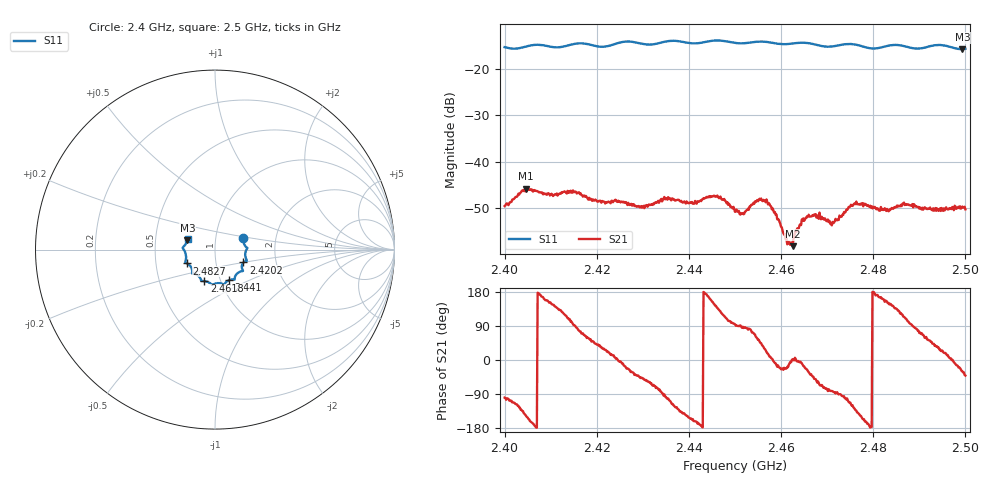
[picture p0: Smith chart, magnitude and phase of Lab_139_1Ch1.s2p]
# Hz S RI R 50
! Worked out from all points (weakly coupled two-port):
!   601 points, 2.4 GHz to 2.5 GHz, reference 50 ohm
!   highest |S21| = -45.78 dB at 2.4047 GHz (marker M1); lowest = -58.1 dB at 2.4625 GHz (marker M2)
!   lowest |S11| = -15.8 dB at 2.4993 GHz (marker M3), VSWR 1.39, Z = 36.5 + j3.85 ohm
!   |S11| at or under -10 dB: start of sweep to end of sweep
!   S12 and S22 are empty: the file has one direction only
!   S11 on the Smith chart (normalised r, x): 2.4 GHz: 1.36, +0.18; 2.4202 GHz: 1.36, -0.20; 2.441 GHz: 1.10, -0.39; 2.4618 GHz: 0.84, -0.30; 2.4827 GHz: 0.72, -0.11; 2.5 GHz: 0.73, +0.09
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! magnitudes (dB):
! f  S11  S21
! 2.4 GHz  -15.4  -49.5
! 2.4047 GHz  -15.2  -45.8
! 2.4167 GHz  -14.5  -47.1
! 2.4202 GHz  -15.2  -48.5
! 2.4298 GHz  -14.6  -49.8
! 2.4333 GHz  -14.5  -48.4
! 2.441 GHz  -14.6  -49.0
! 2.4458 GHz  -13.9  -47.3
! 2.45 GHz  -14.4  -50.7
! 2.4515 GHz  -14.5  -51.1
! 2.4548 GHz  -14.2  -48.2
! 2.4568 GHz  -14.2  -48.1
! 2.4618 GHz  -14.6  -57.6
! 2.4625 GHz  -14.6  -58.1
! 2.4645 GHz  -14.4  -52.4
! 2.4667 GHz  -14.6  -51.7
! 2.4712 GHz  -15.2  -52.9
! 2.4762 GHz  -14.8  -49.1
! 2.4827 GHz  -15.2  -50.2
! 2.4833 GHz  -15.0  -50.6
! 2.4993 GHz  -15.8  -49.6
! 2.5 GHz  -15.7  -50.2
